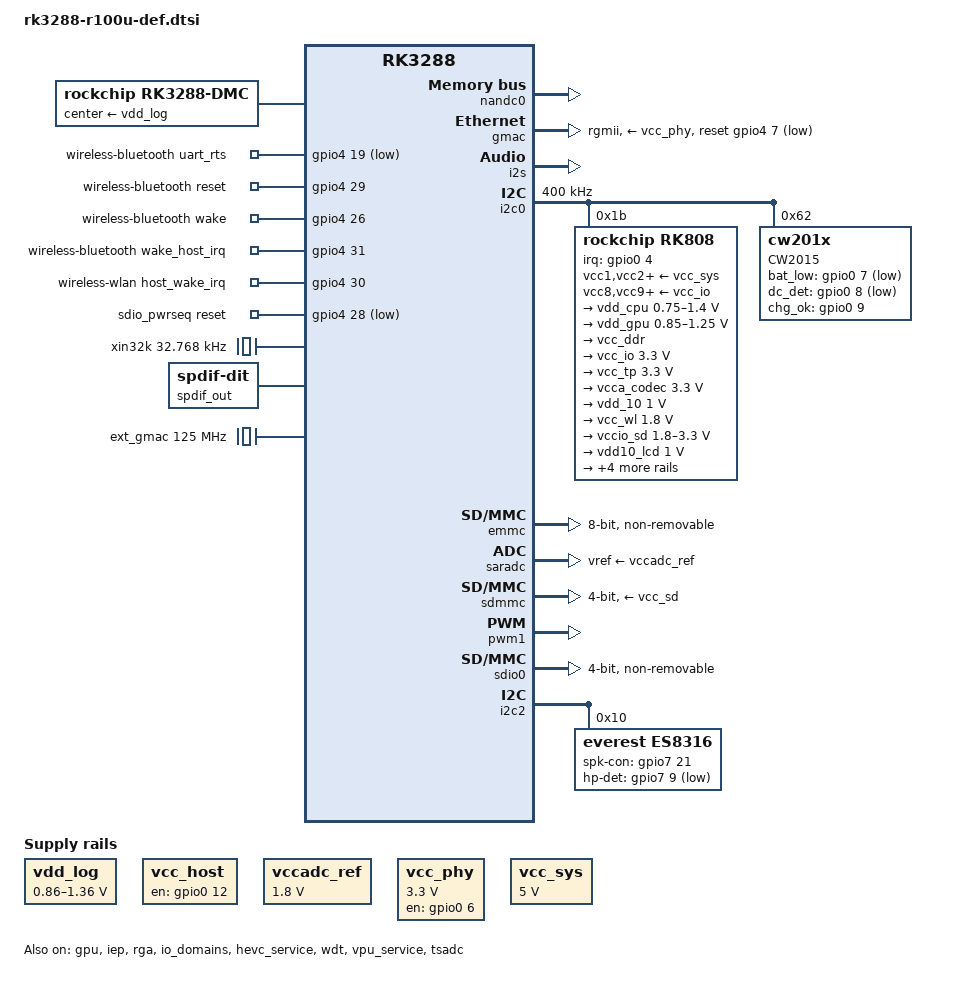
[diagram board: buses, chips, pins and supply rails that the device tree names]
#include <dt-bindings/pwm/pwm.h>
#include <dt-bindings/input/input.h>
#include <dt-bindings/soc/rockchip-system-status.h>
#include "rk3288-dram-default-timing.dtsi"
#include <dt-bindings/display/media-bus-format.h>

#include <dt-bindings/display/rk_fb.h>
#include <dt-bindings/pinctrl/rockchip.h>
#include <dt-bindings/sensor-dev.h>

#include "rk3288.dtsi"
/ {
	firmware {
		android {
			compatible = "android,firmware";
			fstab {
				compatible = "android,fstab";
				system {
					compatible = "android,system";
					dev = "/dev/block/by-name/system";
					type = "ext4";
					mnt_flags = "ro,barrier=1,inode_readahead_blks=8";
					fsmgr_flags = "wait";
				};
				vendor {
					compatible = "android,vendor";
					dev = "/dev/block/by-name/vendor";
					type = "ext4";
					mnt_flags = "ro,barrier=1,inode_readahead_blks=8";
					fsmgr_flags = "wait";
				};
			};
		};
	};

	// chosen {
	// 	bootargs = "earlycon=uart8250,mmio32,0xff690000 vmalloc=496M";
	// };
    /** start: set uart4 as debug console------------------------------------------------------*/
	chosen {
		bootargs = "earlycon=uart8250,mmio32,ff1c0000 vmalloc=496M";
	};
    /** end: set uart4 as debug console--------------------------------------------------------*/
	cpuinfo {
		compatible = "rockchip,cpuinfo";
		nvmem-cells = <&efuse_id>;
		nvmem-cell-names = "id";
	};

	dfi: dfi {
		compatible = "rockchip,rk3288-dfi";
		rockchip,pmu = <&pmu>;
		rockchip,grf = <&grf>;
		status = "disabled";
	};
    
    /delete-node/ dmc@ff610000;
	dmc: dmc {
		compatible = "rockchip,rk3288-dmc";
		devfreq-events = <&dfi>;
		clocks = <&cru SCLK_DDRCLK>, <&cru PCLK_PUBL0>,
			 <&cru PCLK_DDRUPCTL0>, <&cru PCLK_PUBL1>,
			 <&cru PCLK_DDRUPCTL1>;
		clock-names = "dmc_clk", "pclk_phy0", "pclk_upctl0",
			      "pclk_phy1", "pclk_upctl1";
		upthreshold = <55>;
		downdifferential = <10>;
		operating-points-v2 = <&dmc_opp_table>;
		vop-dclk-mode = <0>;
		min-cpu-freq = <600000>;
		rockchip,ddr_timing = <&ddr_timing>;
		system-status-freq = <
			/*system status		freq(KHz)*/
			SYS_STATUS_NORMAL	    396000
			SYS_STATUS_REBOOT	    396000
			SYS_STATUS_SUSPEND	    192000
			SYS_STATUS_VIDEO_1080P	300000
			SYS_STATUS_VIDEO_4K	    396000
			SYS_STATUS_VIDEO_4K_10B	528000
			SYS_STATUS_PERFORMANCE	528000
			SYS_STATUS_BOOST	    396000
			SYS_STATUS_DUALVIEW	    396000
			SYS_STATUS_ISP		    396000
		>;
		auto-min-freq = <396000>;
		auto-freq-en = <0>;
		status = "diasbled";
	};

	dmc_opp_table: opp_table2 {
		compatible = "operating-points-v2";

		opp-192000000 {
			opp-hz = /bits/ 64 <192000000>;
			opp-microvolt = <1100000>;
		};
		opp-300000000 {
			opp-hz = /bits/ 64 <300000000>;
			opp-microvolt = <1100000>;
		};
		opp-396000000 {
			opp-hz = /bits/ 64 <396000000>;
			opp-microvolt = <1100000>;
		};
		opp-528000000 {
			opp-hz = /bits/ 64 <528000000>;
			opp-microvolt = <1150000>;
		};
	};

	reserved-memory {
		ramoops_mem: ramoops@00000000 {
			reg = <0x0 0x8000000 0x0 0xF0000>;
		};

		drm_logo: drm-logo@00000000 {
		compatible = "rockchip,drm-logo";
			reg = <0x0 0x0 0x0 0x0>;
		};
	};

	ramoops {
		compatible = "ramoops";
		record-size = <0x0 0x20000>;
		console-size = <0x0 0x80000>;
		ftrace-size = <0x0 0x00000>;
		pmsg-size = <0x0 0x50000>;
		memory-region = <&ramoops_mem>;
	};

	fiq-debugger {
		compatible = "rockchip,fiq-debugger";
		interrupts = <GIC_SPI 155 IRQ_TYPE_LEVEL_LOW>;
		rockchip,serial-id = <4>;       // set uart4 as debug console
		rockchip,wake-irq = <0>;
		rockchip,irq-mode-enable = <0>;  /* If enable uart uses irq instead of fiq */
		rockchip,baudrate = <115200>;  /* Only 115200 and 1500000 */
		pinctrl-names = "default";
		pinctrl-0 = <&uart3_xfer>;
	};

	psci {
		compatible = "arm,psci-1.0";
		method = "smc";
	};

	/delete-node/ timer@ff810000;

	dwc_control_usb: dwc-control-usb@ff770284 {
		compatible = "rockchip,rk3288-dwc-control-usb";
		status = "disable";
		reg = <0x0 0xff770284 0x0 0x04>, <0x0 0xff770288 0x0 0x04>,
		      <0x0 0xff7702cc 0x0 0x04>, <0x0 0xff7702d4 0x0 0x04>,
		      <0x0 0xff770320 0x0 0x14>, <0x0 0xff770334 0x0 0x14>,
		      <0x0 0xff770348 0x0 0x10>, <0x0 0xff770358 0x0 0x08>,
		      <0x0 0xff770360 0x0 0x08>;
		reg-names = "GRF_SOC_STATUS1" ,"GRF_SOC_STATUS2",
			    "GRF_SOC_STATUS19", "GRF_SOC_STATUS21",
			    "GRF_UOC0_BASE", "GRF_UOC1_BASE",
			    "GRF_UOC2_BASE", "GRF_UOC3_BASE",
			    "GRF_UOC4_BASE";
		interrupts = <GIC_SPI 93 IRQ_TYPE_LEVEL_HIGH>,
			     <GIC_SPI 94 IRQ_TYPE_LEVEL_HIGH>,
			     <GIC_SPI 95 IRQ_TYPE_LEVEL_HIGH>,
			     <GIC_SPI 96 IRQ_TYPE_LEVEL_HIGH>,
			     <GIC_SPI 97 IRQ_TYPE_LEVEL_HIGH>;
		interrupt-names = "otg_id", "otg_bvalid",
				  "otg_linestate", "host0_linestate",
				  "host1_linestate";
		clocks = <&cru HCLK_USB_PERI>;
		clock-names = "hclk_usb_peri";

		// otg_drv_gpio = <&gpio0 12 GPIO_ACTIVE_HIGH>;
		rockchip,remote_wakeup;
		rockchip,usb_irq_wakeup;

		usb_bc {
			compatible = "synopsys,phy";
			rk_usb,bvalid     = <0x288 14 1>;
			rk_usb,iddig      = <0x288 17 1>;
			rk_usb,dcdenb     = <0x328 14 1>;
			rk_usb,vdatsrcenb = <0x328  7 1>;
			rk_usb,vdatdetenb = <0x328  6 1>;
			rk_usb,chrgsel    = <0x328  5 1>;
			rk_usb,chgdet     = <0x2cc 23 1>;
			rk_usb,fsvminus   = <0x2cc 25 1>;
			rk_usb,fsvplus    = <0x2cc 24 1>;
		};
	};

	nandc0: nandc@ff400000 {
		compatible = "rockchip,rk-nandc";
		reg = <0x0 0xff400000 0x0 0x4000>;
		interrupts = <GIC_SPI 38 IRQ_TYPE_LEVEL_HIGH>;
		nandc_id = <0>;
		clocks = <&cru SCLK_NANDC0>, <&cru HCLK_NANDC0>;
		clock-names = "clk_nandc", "hclk_nandc";
		status = "okay";
	};

    wireless-bluetooth {
		compatible = "bluetooth-platdata";
		uart_rts_gpios = <&gpio4 19 GPIO_ACTIVE_LOW>;
		pinctrl-names = "default","rts_gpio";
        clocks = <&rk808 1>;
		clock-names = "ext_clock";
		pinctrl-0 = <&uart0_rts>;
		pinctrl-1 = <&uart0_gpios>;
		BT,reset_gpio    = <&gpio4 29 GPIO_ACTIVE_HIGH>;
		BT,wake_gpio     = <&gpio4 26 GPIO_ACTIVE_HIGH>;
		BT,wake_host_irq = <&gpio4 31 GPIO_ACTIVE_HIGH>;
		status = "okay";
	};

	wireless-wlan {
		compatible = "wlan-platdata";
		rockchip,grf = <&grf>;
		wifi_chip_type = "rtl8723ds";
		sdio_vref = <1800>;
		WIFI,host_wake_irq = <&gpio4 30 GPIO_ACTIVE_HIGH>;
		status = "okay";
	};
    
    display-subsystem {
        status = "okay";
        logo-memory-region = <&drm_logo>;

        route {
            route_dsi0: route-dsi0 {
                status = "disabled";
                logo,uboot = "logo.bmp";
                logo,kernel = "logo_kernel.bmp";
                logo,mode = "center";
                charge_logo,mode = "center";
                connect = <&vopl_out_dsi0>;
            };
            
            route_edp: route-edp {
                status = "disabled";
                logo,uboot = "logo.bmp";
                logo,kernel = "logo_kernel.bmp";
                logo,mode = "center";
                charge_logo,mode = "center";
                connect = <&vopl_out_edp>;
            };

            route_lvds: route-lvds {
                status = "disabled";
                logo,uboot = "logo.bmp";
                logo,kernel = "logo_kernel.bmp";
                logo,mode = "center";
                charge_logo,mode = "center";
                connect = <&vopl_out_lvds>;
            };

            route_hdmi: route-hdmi {
                status = "disabled";
                logo,uboot = "logo.bmp";
                logo,kernel = "logo_kernel.bmp";
                logo,mode = "center";
                charge_logo,mode = "center";
                connect = <&vopb_out_hdmi>;
            };
        };
    };
    hdmi_analog_sound: hdmi-analog-sound {
    	status = "disabled";
    	compatible = "rockchip,rk3288-hdmi-analog",
    			"rockchip,rk3368-hdmi-analog";
    	rockchip,model = "rockchip,rt5640-codec";
    	rockchip,cpu = <&i2s>;
    	rockchip,codec = <&es8316>, <&hdmi>;
    	rockchip,widgets =
    		"Microphone", "Microphone Jack",
    		"Headphone", "Headphone Jack";
    	rockchip,routing =
    		"MIC1", "Microphone Jack",
    		// "MIC2", "Microphone Jack",
    		"Microphone Jack", "micbias1",
    		"Headphone Jack", "HPOL",
    		"Headphone Jack", "HPOR";
    };
    sdio_pwrseq: sdio-pwrseq {
		compatible = "mmc-pwrseq-simple";
		clocks = <&rk808 1>;
		clock-names = "ext_clock";
		pinctrl-names = "default";
		pinctrl-0 = <&wifi_enable_h>;

		/*
		 * On the module itself this is one of these (depending
		 * on the actual card populated):
		 * - SDIO_RESET_L_WL_REG_ON
		 * - PDN (power down when low)
		 */
		reset-gpios = <&gpio4 28 GPIO_ACTIVE_LOW>;
	};
  /delete-node/ sdmmc-regulator;

	vdd_log: vdd-logic {
		compatible = "pwm-regulator";
		rockchip,pwm_id = <1>;
		rockchip,pwm_voltage = <1100000>;
		pwms = <&pwm1 0 25000 1>;
		regulator-name = "vcc_log";
		regulator-min-microvolt = <860000>;
		regulator-max-microvolt = <1360000>;
		regulator-always-on;
		regulator-boot-on;
	};

	xin32k: xin32k {
		compatible = "fixed-clock";
		clock-frequency = <32768>;
		clock-output-names = "xin32k";
		#clock-cells = <0>;
	};
    
	vcc_host: vcc-host-regulator {
		compatible = "regulator-fixed";
		enable-active-high;
		gpio = <&gpio0 12 GPIO_ACTIVE_HIGH>;
		pinctrl-names = "default";
		pinctrl-0 = <&host_vbus_drv>;
		regulator-name = "vcc_host";
		regulator-always-on;
		regulator-boot-on;
	};
    
    es8316_sound: es8316-sound {
		compatible = "simple-audio-card";
        status = "okay";
        simple-audio-card,format = "i2s";
		simple-audio-card,name = "rockchip,es8316-codec";
		// simple-audio-card,mclk-fs = <512>;
        simple-audio-card,mclk-fs = <512>;
		simple-audio-card,widgets =
			"Microphone", "Microphone Jack",
			"Headphone", "Headphone Jack";
		simple-audio-card,routing =
			"MIC1", "Microphone Jack",
            // "IN1P", "Mic Jack",
            "Microphone Jack", "micbias1",
			"Headphone Jack", "HPOL",
			"Headphone Jack", "HPOR";

		simple-audio-card,cpu {
			sound-dai = <&i2s>;
		};
		simple-audio-card,codec {
			sound-dai = <&es8316>;
		};
    };
    spdif_sound: spdif-sound {
        status = "okay";
		compatible = "simple-audio-card";
		simple-audio-card,name = "ROCKCHIP,SPDIF";
		simple-audio-card,cpu {
			sound-dai = <&spdif>; 
        };
		simple-audio-card,cdec { 
            sound-dai = <&spdif_out>; 
        };
	};

	spdif_out: spdif-out {
		compatible = "linux,spdif-dit";
		#sound-dai-cells = <0>;
	};
    
	ext_gmac: external-gmac-clock {
		compatible = "fixed-clock";
		clock-frequency = <125000000>;
		clock-output-names = "ext_gmac";
		#clock-cells = <0>;
	};

	vccadc_ref: vccadc-ref {
		compatible = "regulator-fixed";
		regulator-name = "vcc1v8_sys";
		regulator-always-on;
		regulator-boot-on;
		regulator-min-microvolt = <1800000>;
		regulator-max-microvolt = <1800000>;
	};
    
    vcc_phy: vcc-phy-regulator {
		compatible = "regulator-fixed";
		enable-active-high;
		gpio = <&gpio0 6 GPIO_ACTIVE_HIGH>;
		pinctrl-names = "default";
		pinctrl-0 = <&eth_phy_pwr>;
		regulator-name = "vcc_phy";
		regulator-min-microvolt = <3300000>;
		regulator-max-microvolt = <3300000>;
		regulator-always-on;
		regulator-boot-on;
	};

	vcc_sys: vsys-regulator {
		compatible = "regulator-fixed";
		regulator-name = "vcc_sys";
		regulator-min-microvolt = <5000000>;
		regulator-max-microvolt = <5000000>;
		regulator-always-on;
		regulator-boot-on;
	};
    
	/*
	 * NOTE: vcc_sd isn't hooked up on v1.0 boards where power comes from
	 * vcc_io directly.  Those boards won't be able to power cycle SD cards
	 * but it shouldn't hurt to toggle this pin there anyway.
	 */
	// vcc_sd: sdmmc-regulator {
	// 	compatible = "regulator-fixed";
	// 	pinctrl-names = "default";
	// 	pinctrl-0 = <&sdmmc_pwr>;
	// 	regulator-name = "vcc_sd";
	// 	regulator-min-microvolt = <3300000>;
	// 	regulator-max-microvolt = <3300000>;
	// 	startup-delay-us = <100000>;
	// 	vin-supply = <&vcc_io>;
	// };
};

&cpu0 {
	enable-method = "psci";
    cpu-supply = <&vdd_cpu>;
};

&cpu1 {
	enable-method = "psci";
};

&cpu2 {
	enable-method = "psci";
};

&cpu3 {
	enable-method = "psci";
};

/** not use cif in this project -----------------------------------------------------------*/
&cif_isp0 {
	status = "disable";
};

&dfi {
	status = "okay";
};

&dmc {
	center-supply = <&vdd_log>;
	status = "okay";
};


&gpu {
	status = "okay";
	mali-supply = <&vdd_gpu>;
};

&gmac {
	max-speed = <1000>;
};

&dmac_bus_s {
	/* change to non-secure dmac */
	reg = <0x0 0xff600000 0x0 0x4000>;
};

&efuse {
	compatible = "rockchip,rk3288-secure-efuse";
};

&iep {
	status = "okay";
};

&iep_mmu {
	status = "okay";
};



&rga {
	compatible = "rockchip,rga2";
	clocks = <&cru ACLK_RGA>, <&cru HCLK_RGA>, <&cru SCLK_RGA>;
	clock-names = "aclk_rga", "hclk_rga", "clk_rga";
	dma-coherent;
};

&usb_otg {
	compatible = "rockchip,rk3288_usb20_otg";
	clocks = <&usbphy0>, <&cru HCLK_OTG0>;
	clock-names = "clk_usbphy0", "hclk_usb0";
	resets = <&cru SRST_USBOTG_AHB>,
		 <&cru SRST_USBOTG_PHY>,
		 <&cru SRST_USBOTG_CON>;
	reset-names = "otg_ahb", "otg_phy", "otg_controller";
	/*0 - Normal, 1 - Force Host, 2 - Force Device*/
	// rockchip,usb-mode = <1>;
    rockchip,usb-mode = <0>;
};

&i2s {
	#sound-dai-cells = <0>;
	status = "okay";
};

&i2c0 {
	clock-frequency = <400000>;
    status = "okay";
	rk808: pmic@1b {
		compatible = "rockchip,rk808";
		reg = <0x1b>;
		interrupt-parent = <&gpio0>;
		interrupts = <4 IRQ_TYPE_LEVEL_LOW>;
		pinctrl-names = "default";
		pinctrl-0 = <&pmic_int &global_pwroff>;
		rockchip,system-power-controller;
		wakeup-source;
		#clock-cells = <1>;
		clock-output-names = "rk808-clkout1", "rk808-clkout2";

		vcc1-supply = <&vcc_sys>;
		vcc2-supply = <&vcc_sys>;
		vcc3-supply = <&vcc_sys>;
		vcc4-supply = <&vcc_sys>;
		vcc6-supply = <&vcc_sys>;
		vcc8-supply = <&vcc_io>;
		vcc9-supply = <&vcc_io>;
		vcc12-supply = <&vcc_io>;
		vddio-supply = <&vcc_io>;

		regulators {
			vdd_cpu: DCDC_REG1 {
				regulator-always-on;
				regulator-boot-on;
				regulator-min-microvolt = <750000>;
				regulator-max-microvolt = <1400000>;
				regulator-name = "vdd_arm";
				regulator-state-mem {
					regulator-off-in-suspend;
				};
			};

			vdd_gpu: DCDC_REG2 {
				regulator-always-on;
				regulator-boot-on;
				regulator-min-microvolt = <850000>;
				regulator-max-microvolt = <1250000>;
				regulator-name = "vdd_gpu";
				regulator-ramp-delay = <6000>;
				regulator-state-mem {
					regulator-off-in-suspend;
				};
			};

			vcc_ddr: DCDC_REG3 {
				regulator-always-on;
				regulator-boot-on;
				regulator-name = "vcc_ddr";
				regulator-state-mem {
					regulator-on-in-suspend;
				};
			};

			vcc_io: DCDC_REG4 {
				regulator-always-on;
				regulator-boot-on;
				regulator-min-microvolt = <3300000>;
				regulator-max-microvolt = <3300000>;
				regulator-name = "vcc_io";
				regulator-state-mem {
					regulator-on-in-suspend;
					// regulator-suspend-microvolt = <3300000>;
				};
			};

			vcc_tp: LDO_REG1 {
				regulator-always-on;
				regulator-boot-on;
				regulator-min-microvolt = <3300000>;
				regulator-max-microvolt = <3300000>;
				regulator-name = "vcc_tp";
				regulator-state-mem {
					regulator-off-in-suspend;
				};
			};

			vcca_codec: LDO_REG2 {
				regulator-always-on;
				regulator-boot-on;
				regulator-min-microvolt = <3300000>;
				regulator-max-microvolt = <3300000>;
				regulator-name = "vcca_codec";
				regulator-state-mem {
					regulator-on-in-suspend;
					regulator-suspend-microvolt = <3300000>;
				};
			};

			vdd_10: LDO_REG3 {
				regulator-always-on;
				regulator-boot-on;
				regulator-min-microvolt = <1000000>;
				regulator-max-microvolt = <1000000>;
				regulator-name = "vdd_10";
				regulator-state-mem {
					regulator-on-in-suspend;
					regulator-suspend-microvolt = <1000000>;
				};
			};

			vcc_wl: LDO_REG4 {
				regulator-always-on;
				regulator-boot-on;
				regulator-min-microvolt = <1800000>;
				regulator-max-microvolt = <1800000>;
				regulator-name = "vcc_wl";
				regulator-state-mem {
					regulator-on-in-suspend;
				};
			};

			vccio_sd: LDO_REG5 {
				regulator-always-on;
				regulator-boot-on;
				regulator-min-microvolt = <1800000>;
				regulator-max-microvolt = <3300000>;
				regulator-name = "vccio_sd";
				regulator-state-mem {
					regulator-off-in-suspend;
				};
			};

			vdd10_lcd: LDO_REG6 {
				regulator-always-on;
				regulator-boot-on;
				regulator-min-microvolt = <1000000>;
				regulator-max-microvolt = <1000000>;
				regulator-name = "vdd10_lcd";
				regulator-state-mem {
					regulator-off-in-suspend;
				};
			};

			vcc_18: LDO_REG7 {
				regulator-always-on;
				regulator-boot-on;
				regulator-min-microvolt = <1800000>;
				regulator-max-microvolt = <1800000>;
				regulator-name = "vcc_18";
				regulator-state-mem {
					regulator-on-in-suspend;
					regulator-suspend-microvolt = <1800000>;
				};
			};

			vcc18_lcd: LDO_REG8 {
				regulator-always-on;
				regulator-boot-on;
				regulator-min-microvolt = <1800000>;
				regulator-max-microvolt = <1800000>;
				regulator-name = "vcc18_lcd";
				regulator-state-mem {
					regulator-off-in-suspend;
				};
			};

			vcc_sd: SWITCH_REG1 {
				regulator-always-on;
				regulator-boot-on;
				regulator-min-microvolt = <3300000>;
				regulator-max-microvolt = <3300000>;
				regulator-name = "vcc_sd";
				regulator-state-mem {
					regulator-off-in-suspend;
				};
			};

			vcc_lcd: SWITCH_REG2 {
				regulator-always-on;
				regulator-boot-on;
				regulator-min-microvolt = <3300000>;
				regulator-max-microvolt = <3300000>;
				regulator-name = "vcc_lcd";
				regulator-state-mem {
					regulator-off-in-suspend;
				};
			};
		};
	};

	CW2015@62 {
		compatible = "cw201x";
		reg = <0x62>;
		bat_low_gpio = <&gpio0 7 GPIO_ACTIVE_LOW>;
		dc_det_gpio = <&gpio0 8 GPIO_ACTIVE_LOW>;
		chg_ok_gpio = <&gpio0 9 GPIO_ACTIVE_HIGH>;
		bat_config_info = <0x15 0x42 0x60 0x59 0x52 0x58 0x4D 0x48 0x48 0x44 0x44 0x46 0x49 0x48 0x32
			0x24 0x20 0x17 0x13 0x0F 0x19 0x3E 0x51 0x45 0x08 0x76 0x0B 0x85 0x0E 0x1C 0x2E 0x3E 0x4D 0x52 0x52
			0x57 0x3D 0x1B 0x6A 0x2D 0x25 0x43 0x52 0x87 0x8F 0x91 0x94 0x52 0x82 0x8C 0x92 0x96 0xFF 0x7B 0xBB
			0xCB 0x2F 0x7D 0x72 0xA5 0xB5 0xC1 0x46 0xAE>;
		is_dc_charge = <1>;
		is_usb_charge = <0>;
		monitor_sec = <5>;
		virtual_power = <0>;
		divider_res1 = <200>;
		divider_res2 = <200>;
	};
};

&io_domains {
	status = "okay";
	audio-supply = <&vcc_io>;
	bb-supply = <&vcc_io>;
	dvp-supply = <&vcc_io>;
	flash0-supply = <&vcc_18>;
	flash1-supply = <&vcc_io>;
	gpio30-supply = <&vcc_io>;
	gpio1830 = <&vcc_io>;
	lcdc-supply = <&vcc_lcd>;
	sdcard-supply = <&vccio_sd>;
	wifi-supply = <&vcc_wl>;
    // sdcard-supply = <&vccio_sd>;
	// wifi-supply = <&vcc_18>;
};

&rockchip_suspend {
	status = "okay";
	rockchip,pwm-regulator-config = <
	(0
	| PWM1_REGULATOR_EN
	)
	>;
};


&emmc {
	bus-width = <8>;
	cap-mmc-highspeed;
	disable-wp;
	non-removable;
	num-slots = <1>;
	pinctrl-names = "default";
	pinctrl-0 = <&emmc_clk &emmc_cmd &emmc_pwr &emmc_bus8>;
	max-frequency = <100000000>;
	mmc-hs200-1_8v;
	mmc-ddr-1_8v;
	status = "okay";
};

&gmac {
	phy-supply = <&vcc_phy>;
	phy-mode = "rgmii";
	clock_in_out = "input";
	snps,reset-gpio = <&gpio4 7 0>;
	snps,reset-active-low;
	snps,reset-delays-us = <0 10000 50000>;
	assigned-clocks = <&cru SCLK_MAC>;
	assigned-clock-parents = <&ext_gmac>;
	pinctrl-names = "default";
	pinctrl-0 = <&rgmii_pins>;
	tx_delay = <0x30>;
	rx_delay = <0x10>;
	max-speed = <100>;
	status = "okay";
};

&saradc {
	vref-supply = <&vccadc_ref>;
	status = "okay";
};

&sdmmc {
	supports-sd;
	bus-width = <4>;
	cap-mmc-highspeed;
	sd-uhs-sdr12;
	sd-uhs-sdr25;
	sd-uhs-sdr50;
	sd-uhs-sdr104;
	cap-sd-highspeed;
	card-detect-delay = <200>;
	disable-wp;			/* wp not hooked up */
	num-slots = <1>;
	pinctrl-names = "default";
	pinctrl-0 = <&sdmmc_clk &sdmmc_cmd &sdmmc_cd &sdmmc_bus4>;
	status = "okay";
	vmmc-supply = <&vcc_sd>;
	vqmmc-supply = <&vccio_sd>;
	supports-sd;
};

&hevc_service {
	status = "okay";
};

&wdt {
	status = "okay";
};

&pwm1 {
	status = "okay";
	pinctrl-names = "active";
	pinctrl-0 = <&pwm1_pin_pull_down>;
};


&rga {
	status = "okay";
};

&sdio0 {
	status = "okay";
	max-frequency = <150000000>;

	bus-width = <4>;
	cap-sd-highspeed;
	cap-sdio-irq;
	disable-wp;
	keep-power-in-suspend;
	mmc-pwrseq = <&sdio_pwrseq>;
	non-removable;
	num-slots = <1>;
	pinctrl-names = "default";
	pinctrl-0 = <&sdio0_bus4 &sdio0_cmd &sdio0_clk &sdio0_int>;
	sd-uhs-sdr104;
	supports-sdio;
};



&vpu_service {
	status = "okay";
};


&isp_mmu {
	status = "okay";
};


&tsadc {
	rockchip,hw-tshut-polarity = <0>; /* tshut polarity 0:LOW 1:HIGH */
	status = "okay";
};

&i2c2 {
	status = "okay";
    es8316: es8316@10 {
		compatible = "everest,es8316";
        status = "okay";
        #sound-dai-cells = <0>;
		reg = <0x10>;
        clocks = <&cru SCLK_I2S0_OUT>;
        clock-names = "mclk";
		spk-con-gpio = <&gpio7 21 GPIO_ACTIVE_HIGH>;
		hp-det-gpio = <&gpio7 9 GPIO_ACTIVE_LOW>;
		// clock-names = "mclk";
		// clocks = <&cru SCLK_I2S0_OUT>;
		pinctrl-names = "default";
		pinctrl-0 = <&i2s0_mclk>;
		
	};
};

&pinctrl {
    wireless-bluetooth {
		uart0_gpios: uart0-gpios {
			rockchip,pins = <4 19 RK_FUNC_GPIO &pcfg_pull_none>;
		};
	};
    usb {
        host_vbus_drv: host-vbus-drv {
            rockchip,pins = <0 12 RK_FUNC_GPIO &pcfg_pull_none>;
        };
	};
	pcfg_pull_none_drv_8ma: pcfg-pull-none-drv-8ma {
		drive-strength = <8>;
	};

	pcfg_pull_up_drv_8ma: pcfg-pull-up-drv-8ma {
		bias-pull-up;
		drive-strength = <8>;
	};

	pmic {
		pmic_int: pmic-int {
			rockchip,pins = <RK_GPIO0 4 RK_FUNC_GPIO &pcfg_pull_up>;
		};
	};

	sdio-pwrseq {
		wifi_enable_h: wifi-enable-h {
			rockchip,pins = <4 28 RK_FUNC_GPIO &pcfg_pull_none>;
		};
	};

	sdmmc {
		/*
		 * Default drive strength isn't enough to achieve even
		 * high-speed mode on EVB board so bump up to 8ma.
		 */
		sdmmc_bus4: sdmmc-bus4 {
			rockchip,pins = <6 16 RK_FUNC_1 &pcfg_pull_up_drv_8ma>,
					<6 17 RK_FUNC_1 &pcfg_pull_up_drv_8ma>,
					<6 18 RK_FUNC_1 &pcfg_pull_up_drv_8ma>,
					<6 19 RK_FUNC_1 &pcfg_pull_up_drv_8ma>;
		};

		sdmmc_clk: sdmmc-clk {
			rockchip,pins = <6 20 RK_FUNC_1 &pcfg_pull_none_drv_8ma>;
		};

		sdmmc_cmd: sdmmc-cmd {
			rockchip,pins = <6 21 RK_FUNC_1 &pcfg_pull_up_drv_8ma>;
		};

		sdmmc_pwr: sdmmc-pwr {
			rockchip,pins = <7 11 RK_FUNC_GPIO &pcfg_pull_none>;
		};
	};
    
	eth_phy {
		eth_phy_pwr: eth-phy-pwr {
			rockchip,pins = <0 6 RK_FUNC_GPIO &pcfg_pull_none>;
		};
	};
};
